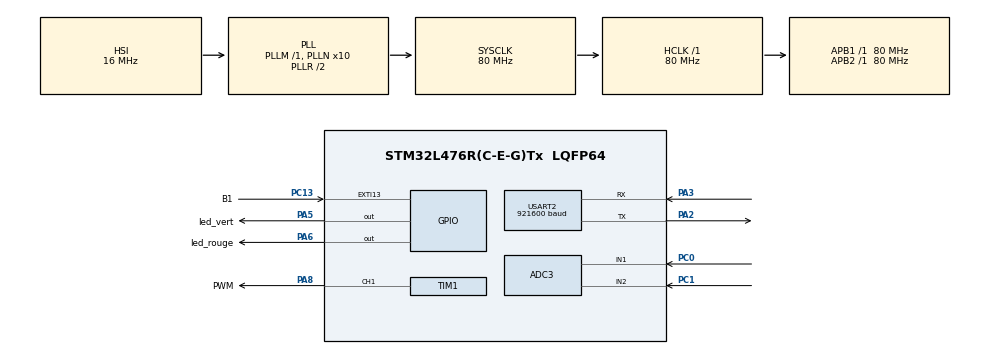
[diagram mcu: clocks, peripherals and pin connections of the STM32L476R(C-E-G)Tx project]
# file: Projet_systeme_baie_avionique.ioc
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ADC3.Channel-0\#ChannelRegularConversion=ADC_CHANNEL_1
ADC3.Channel-1\#ChannelRegularConversion=ADC_CHANNEL_2
ADC3.ContinuousConvMode=ENABLE
ADC3.EOCSelection=ADC_EOC_SEQ_CONV
ADC3.NbrOfConversion=2
ADC3.NbrOfConversionFlag=1
ADC3.OffsetNumber-0\#ChannelRegularConversion=ADC_OFFSET_NONE
ADC3.OffsetNumber-1\#ChannelRegularConversion=ADC_OFFSET_NONE
ADC3.Rank-0\#ChannelRegularConversion=1
ADC3.Rank-1\#ChannelRegularConversion=2
ADC3.SamplingTime-0\#ChannelRegularConversion=ADC_SAMPLETIME_6CYCLES_5
ADC3.SamplingTime-1\#ChannelRegularConversion=ADC_SAMPLETIME_6CYCLES_5
Dma.ADC3.0.Direction=DMA_PERIPH_TO_MEMORY
Dma.ADC3.0.Instance=DMA1_Channel3
Dma.ADC3.0.MemDataAlignment=DMA_MDATAALIGN_HALFWORD
Dma.ADC3.0.MemInc=DMA_MINC_ENABLE
Dma.ADC3.0.Mode=DMA_NORMAL
Dma.ADC3.0.PeriphDataAlignment=DMA_PDATAALIGN_HALFWORD
Dma.ADC3.0.PeriphInc=DMA_PINC_DISABLE
Dma.ADC3.0.Priority=DMA_PRIORITY_LOW
Dma.Request0=ADC3
FREERTOS.Events01=EventIHM,Dynamic,NULL
FREERTOS.Mutexes01=Mutexe_UART,Dynamic,NULL,Available
FREERTOS.Queues01=PipeQueue,10,info_commande_t,0,Dynamic,NULL,NULL
FREERTOS.Tasks01=TaskCommande,40,256,StartTaskCommande,Default,NULL,Dynamic,NULL,NULL;TaskTelemetrie,24,256,StartTaskTelemetrie,Default,NULL,Dynamic,NULL,NULL;TaskIHM,8,256,StartTaskIHM,Default,NULL,Dynamic,NULL,NULL
FREERTOS.configCHECK_FOR_STACK_OVERFLOW=2
FREERTOS.configTOTAL_HEAP_SIZE=6000
FREERTOS.configUSE_NEWLIB_REENTRANT=1
FREERTOS.configUSE_STATS_FORMATTING_FUNCTIONS=1
IWDG.Prescaler=IWDG_PRESCALER_32
IWDG.Reload=4000
Mcu.Family=STM32L4
Mcu.Name=STM32L476R(C-E-G)Tx
Mcu.Package=LQFP64
NVIC.ADC3_IRQn=true\:5\:0\:false\:false\:true\:true\:true\:true\:true
NVIC.DMA1_Channel3_IRQn=true\:5\:0\:false\:false\:true\:true\:false\:true\:true
NVIC.EXTI15_10_IRQn=true\:5\:0\:false\:false\:true\:true\:true\:true\:true
NVIC.PriorityGroup=NVIC_PRIORITYGROUP_4
NVIC.TIM1_CC_IRQn=true\:5\:0\:false\:false\:true\:true\:true\:true\:true
NVIC.TIM6_DAC_IRQn=true\:15\:0\:false\:false\:true\:false\:false\:true\:true
NVIC.TimeBase=TIM6_DAC_IRQn
NVIC.TimeBaseIP=TIM6
NVIC.USART2_IRQn=true\:5\:0\:false\:false\:true\:true\:true\:true\:true
PA13\ (JTMS-SWDIO).Mode=Serial_Wire
PA13\ (JTMS-SWDIO).Signal=SYS_JTMS-SWDIO
PA14\ (JTCK-SWCLK).Mode=Serial_Wire
PA14\ (JTCK-SWCLK).Signal=SYS_JTCK-SWCLK
PA2.Mode=Asynchronous
PA2.Signal=USART2_TX
PA3.Mode=Asynchronous
PA3.Signal=USART2_RX
PA5.GPIO_Label=led_vert
PA5.Signal=GPIO_Output
PA6.GPIO_Label=led_rouge
PA6.Signal=GPIO_Output
PA8.GPIO_Label=PWM
PA8.Signal=S_TIM1_CH1
PC0.Signal=ADCx_IN1
PC1.Signal=ADCx_IN2
PC13.GPIO_Label=B1
PC13.GPIO_PuPd=GPIO_PULLUP
PC13.Signal=GPXTI13
PH0-OSC_IN\ (PH0).Mode=HSE-External-Oscillator
PH0-OSC_IN\ (PH0).Signal=RCC_OSC_IN
PH1-OSC_OUT\ (PH1).Mode=HSE-External-Oscillator
PH1-OSC_OUT\ (PH1).Signal=RCC_OSC_OUT
ProjectManager.HeapSize=0x200
ProjectManager.StackSize=0x400
ProjectManager.TargetToolchain=STM32CubeIDE
RCC.ADCFreq_Value=64000000
RCC.AHBFreq_Value=80000000
RCC.APB1Freq_Value=80000000
RCC.APB1TimFreq_Value=80000000
RCC.APB2Freq_Value=80000000
RCC.APB2TimFreq_Value=80000000
RCC.CortexFreq_Value=80000000
RCC.HCLKFreq_Value=80000000
RCC.HSE_VALUE=8000000
RCC.HSI_VALUE=16000000
RCC.LSE_VALUE=32768
RCC.MSI_VALUE=4000000
RCC.PLLN=10
RCC.PLLSourceVirtual=RCC_PLLSOURCE_HSI
RCC.PREFETCH_ENABLE=1
RCC.SYSCLKFreq_VALUE=80000000
RCC.SYSCLKSource=RCC_SYSCLKSOURCE_PLLCLK
RCC.USBFreq_Value=64000000
RCC.VCOOutputFreq_Value=160000000
SH.ADCx_IN1.0=ADC3_IN1,IN1-Single-Ended
SH.ADCx_IN2.0=ADC3_IN2,IN2-Single-Ended
SH.S_TIM1_CH1.0=TIM1_CH1,PWM Generation1 CH1
TIM1.Channel-PWM\ Generation1\ CH1=TIM_CHANNEL_1
TIM1.Period=100-1
TIM1.Prescaler=8000-1
USART2.BaudRate=921600
USART2.VirtualMode-Asynchronous=VM_ASYNC
VP_FREERTOS_VS_CMSIS_V2.Mode=CMSIS_V2
VP_IWDG_VS_IWDG.Mode=IWDG_Activate
VP_SYS_VS_tim6.Mode=TIM6
VP_TIM1_VS_ClockSourceINT.Mode=Internal
board=NUCLEO-L476RG

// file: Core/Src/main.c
/* USER CODE BEGIN Header */
/**
  ******************************************************************************
  * @file           : main.c
  * @brief          : Main program body
  ******************************************************************************
  * @attention
  *
  * Copyright (c) 2026 STMicroelectronics.
  * All rights reserved.
  *
  * This software is licensed under terms that can be found in the LICENSE file
  * in the root directory of this software component.
  * If no LICENSE file comes with this software, it is provided AS-IS.
  *
  ******************************************************************************
  */
/* USER CODE END Header */
#include "main.h"
#include "cmsis_os.h"

/* USER CODE BEGIN Includes */
#include <stdio.h>
#include<string.h>
#include<math.h>
/* USER CODE END Includes */

/* USER CODE BEGIN PD */
#define CONSIGNE_CAPTEUR1 25
#define CONSIGNE_CAPTEUR2 30

#define COMMANDE_OK (1<<1)
#define TELEMETRIE_OK (2<<1)
/* USER CODE END PD */

ADC_HandleTypeDef hadc3;
DMA_HandleTypeDef hdma_adc3;

IWDG_HandleTypeDef hiwdg;

TIM_HandleTypeDef htim1;

UART_HandleTypeDef huart2;

/* Definitions for TaskCommande */
osThreadId_t TaskCommandeHandle;
const osThreadAttr_t TaskCommande_attributes = {
  .name = "TaskCommande",
  .stack_size = 256 * 4,
  .priority = (osPriority_t) osPriorityHigh,
};
/* Definitions for TaskTelemetrie */
osThreadId_t TaskTelemetrieHandle;
const osThreadAttr_t TaskTelemetrie_attributes = {
  .name = "TaskTelemetrie",
  .stack_size = 256 * 4,
  .priority = (osPriority_t) osPriorityNormal,
};
/* Definitions for TaskIHM */
osThreadId_t TaskIHMHandle;
const osThreadAttr_t TaskIHM_attributes = {
  .name = "TaskIHM",
  .stack_size = 256 * 4,
  .priority = (osPriority_t) osPriorityLow,
};
/* Definitions for PipeQueue */
osMessageQueueId_t PipeQueueHandle;
const osMessageQueueAttr_t PipeQueue_attributes = {
  .name = "PipeQueue"
};
/* Definitions for Mutexe_UART */
osMutexId_t Mutexe_UARTHandle;
const osMutexAttr_t Mutexe_UART_attributes = {
  .name = "Mutexe_UART"
};
/* Definitions for EventIHM */
osEventFlagsId_t EventIHMHandle;
const osEventFlagsAttr_t EventIHM_attributes = {
  .name = "EventIHM"
};
/* USER CODE BEGIN PV */

//-------> Informations sur la chaîne Acquistion-Commande PWM
typedef struct{
	uint16_t capteur1; // Jumeau Température
	uint16_t capteur2; // Jumeau humidité
	uint16_t duty_PWM;  // Rapport cyclique du PWM
	uint8_t  fsm_state; // 0: Normal, 1: Warning, 2: Critical
	uint32_t time_systeme;      // Temps système (ms)
}info_commande_t;

info_commande_t data_commande={
		.time_systeme=0,
		.capteur1=0,
		.capteur2=0,
		.duty_PWM=0,
		.fsm_state=0,
};

uint8_t flag_IWGD=0;

//--------> Variables buffer pour l'informations via la télémetrie
char buffer_UART[500];  // télémetrie via UART
volatile uint16_t buffer_capteur[2]; // Lecture des potentiomètres (pour simuler la température et humidité dans la baie avionique)

// Efface l'écran et remet le curseur en haut (sur Tera Term via UART)
char clear_screen[] = "\033[2J\033[H";
char message_erreur[]="--->\033[31m SYSTEME KO (Non respect écheance de tâche)\033[0m \r\n	\033[1m (Attente reset du Watchdog)\033[0m\r\n";

/* USER CODE END PV */

void SystemClock_Config(void);
static void MX_GPIO_Init(void);
static void MX_DMA_Init(void);
static void MX_TIM1_Init(void);
static void MX_USART2_UART_Init(void);
static void MX_ADC3_Init(void);
static void MX_IWDG_Init(void);
void StartTaskCommande(void *argument);
void StartTaskTelemetrie(void *argument);
void StartTaskIHM(void *argument);

/* USER CODE BEGIN 0 */

//------> Indispensable to use iprintf and others on serial debug terminal
int __io_putchar(int ch)
{
	// Send the character to ITM canal
	ITM_SendChar(ch);
	return ch;
}

/* USER CODE END 0 */

int main(void)
{

  /* MCU Configuration--------------------------------------------------------*/

  /* Reset of all peripherals, Initializes the Flash interface and the Systick. */
  HAL_Init();

  /* Configure the system clock */
  SystemClock_Config();

  /* Initialize all configured peripherals */
  MX_GPIO_Init();
  MX_DMA_Init();
  MX_TIM1_Init();
  MX_USART2_UART_Init();
  MX_ADC3_Init();
  MX_IWDG_Init();
  /* USER CODE BEGIN 2 */

//  	HAL_ADC_Start_DMA(&hadc3,(uint32_t *)buffer_capteur, 2);

  /* USER CODE END 2 */

  /* Init scheduler */
  osKernelInitialize();
  /* Create the mutex(es) */
  /* creation of Mutexe_UART */
  Mutexe_UARTHandle = osMutexNew(&Mutexe_UART_attributes);

  /* Create the queue(s) */
  /* creation of PipeQueue */
  PipeQueueHandle = osMessageQueueNew (10, sizeof(info_commande_t), &PipeQueue_attributes);

  /* Create the thread(s) */
  /* creation of TaskCommande */
  TaskCommandeHandle = osThreadNew(StartTaskCommande, NULL, &TaskCommande_attributes);

  /* creation of TaskTelemetrie */
  TaskTelemetrieHandle = osThreadNew(StartTaskTelemetrie, NULL, &TaskTelemetrie_attributes);

  /* creation of TaskIHM */
  TaskIHMHandle = osThreadNew(StartTaskIHM, NULL, &TaskIHM_attributes);

  /* creation of EventIHM */
  EventIHMHandle = osEventFlagsNew(&EventIHM_attributes);

  /* Start scheduler */
  osKernelStart();

  /* We should never get here as control is now taken by the scheduler */

  /* Infinite loop */
  while (1)
  {

  }
}

void SystemClock_Config(void)
{
  RCC_OscInitTypeDef RCC_OscInitStruct = {0};
  RCC_ClkInitTypeDef RCC_ClkInitStruct = {0};

  /** Configure the main internal regulator output voltage
  */
  if (HAL_PWREx_ControlVoltageScaling(PWR_REGULATOR_VOLTAGE_SCALE1) != HAL_OK)
  {
    Error_Handler();
  }

  /** Initializes the RCC Oscillators according to the specified parameters
  * in the RCC_OscInitTypeDef structure.
  */
  RCC_OscInitStruct.OscillatorType = RCC_OSCILLATORTYPE_HSI|RCC_OSCILLATORTYPE_LSI;
  RCC_OscInitStruct.HSIState = RCC_HSI_ON;
  RCC_OscInitStruct.HSICalibrationValue = RCC_HSICALIBRATION_DEFAULT;
  RCC_OscInitStruct.LSIState = RCC_LSI_ON;
  RCC_OscInitStruct.PLL.PLLState = RCC_PLL_ON;
  RCC_OscInitStruct.PLL.PLLSource = RCC_PLLSOURCE_HSI;
  RCC_OscInitStruct.PLL.PLLM = 1;
  RCC_OscInitStruct.PLL.PLLN = 10;
  RCC_OscInitStruct.PLL.PLLP = RCC_PLLP_DIV7;
  RCC_OscInitStruct.PLL.PLLQ = RCC_PLLQ_DIV2;
  RCC_OscInitStruct.PLL.PLLR = RCC_PLLR_DIV2;
  if (HAL_RCC_OscConfig(&RCC_OscInitStruct) != HAL_OK)
  {
    Error_Handler();
  }

  /** Initializes the CPU, AHB and APB buses clocks
  */
  RCC_ClkInitStruct.ClockType = RCC_CLOCKTYPE_HCLK|RCC_CLOCKTYPE_SYSCLK
                              |RCC_CLOCKTYPE_PCLK1|RCC_CLOCKTYPE_PCLK2;
  RCC_ClkInitStruct.SYSCLKSource = RCC_SYSCLKSOURCE_PLLCLK;
  RCC_ClkInitStruct.AHBCLKDivider = RCC_SYSCLK_DIV1;
  RCC_ClkInitStruct.APB1CLKDivider = RCC_HCLK_DIV1;
  RCC_ClkInitStruct.APB2CLKDivider = RCC_HCLK_DIV1;

  if (HAL_RCC_ClockConfig(&RCC_ClkInitStruct, FLASH_LATENCY_4) != HAL_OK)
  {
    Error_Handler();
  }
}

static void MX_ADC3_Init(void)
{

  ADC_ChannelConfTypeDef sConfig = {0};

  /** Common config
  */
  hadc3.Instance = ADC3;
  hadc3.Init.ClockPrescaler = ADC_CLOCK_ASYNC_DIV1;
  hadc3.Init.Resolution = ADC_RESOLUTION_12B;
  hadc3.Init.DataAlign = ADC_DATAALIGN_RIGHT;
  hadc3.Init.ScanConvMode = ADC_SCAN_ENABLE;
  hadc3.Init.EOCSelection = ADC_EOC_SEQ_CONV;
  hadc3.Init.LowPowerAutoWait = DISABLE;
  hadc3.Init.ContinuousConvMode = ENABLE;
  hadc3.Init.NbrOfConversion = 2;
  hadc3.Init.DiscontinuousConvMode = DISABLE;
  hadc3.Init.ExternalTrigConv = ADC_SOFTWARE_START;
  hadc3.Init.ExternalTrigConvEdge = ADC_EXTERNALTRIGCONVEDGE_NONE;
  hadc3.Init.DMAContinuousRequests = DISABLE;
  hadc3.Init.Overrun = ADC_OVR_DATA_PRESERVED;
  hadc3.Init.OversamplingMode = DISABLE;
  if (HAL_ADC_Init(&hadc3) != HAL_OK)
  {
    Error_Handler();
  }

  /** Configure Regular Channel
  */
  sConfig.Channel = ADC_CHANNEL_1;
  sConfig.Rank = ADC_REGULAR_RANK_1;
  sConfig.SamplingTime = ADC_SAMPLETIME_6CYCLES_5;
  sConfig.SingleDiff = ADC_SINGLE_ENDED;
  sConfig.OffsetNumber = ADC_OFFSET_NONE;
  sConfig.Offset = 0;
  if (HAL_ADC_ConfigChannel(&hadc3, &sConfig) != HAL_OK)
  {
    Error_Handler();
  }

  /** Configure Regular Channel
  */
  sConfig.Channel = ADC_CHANNEL_2;
  sConfig.Rank = ADC_REGULAR_RANK_2;
  if (HAL_ADC_ConfigChannel(&hadc3, &sConfig) != HAL_OK)
  {
    Error_Handler();
  }

}

static void MX_IWDG_Init(void)
{

  hiwdg.Instance = IWDG;
  hiwdg.Init.Prescaler = IWDG_PRESCALER_32;
  hiwdg.Init.Window = 4095;
  hiwdg.Init.Reload = 4000;
  if (HAL_IWDG_Init(&hiwdg) != HAL_OK)
  {
    Error_Handler();
  }

}

static void MX_TIM1_Init(void)
{

  TIM_ClockConfigTypeDef sClockSourceConfig = {0};
  TIM_MasterConfigTypeDef sMasterConfig = {0};
  TIM_OC_InitTypeDef sConfigOC = {0};
  TIM_BreakDeadTimeConfigTypeDef sBreakDeadTimeConfig = {0};

  htim1.Instance = TIM1;
  htim1.Init.Prescaler = 8000-1;
  htim1.Init.CounterMode = TIM_COUNTERMODE_UP;
  htim1.Init.Period = 100-1;
  htim1.Init.ClockDivision = TIM_CLOCKDIVISION_DIV1;
  htim1.Init.RepetitionCounter = 0;
  htim1.Init.AutoReloadPreload = TIM_AUTORELOAD_PRELOAD_DISABLE;
  if (HAL_TIM_Base_Init(&htim1) != HAL_OK)
  {
    Error_Handler();
  }
  sClockSourceConfig.ClockSource = TIM_CLOCKSOURCE_INTERNAL;
  if (HAL_TIM_ConfigClockSource(&htim1, &sClockSourceConfig) != HAL_OK)
  {
    Error_Handler();
  }
  if (HAL_TIM_PWM_Init(&htim1) != HAL_OK)
  {
    Error_Handler();
  }
  sMasterConfig.MasterOutputTrigger = TIM_TRGO_RESET;
  sMasterConfig.MasterOutputTrigger2 = TIM_TRGO2_RESET;
  sMasterConfig.MasterSlaveMode = TIM_MASTERSLAVEMODE_DISABLE;
  if (HAL_TIMEx_MasterConfigSynchronization(&htim1, &sMasterConfig) != HAL_OK)
  {
    Error_Handler();
  }
  sConfigOC.OCMode = TIM_OCMODE_PWM1;
  sConfigOC.Pulse = 0;
  sConfigOC.OCPolarity = TIM_OCPOLARITY_HIGH;
  sConfigOC.OCNPolarity = TIM_OCNPOLARITY_HIGH;
  sConfigOC.OCFastMode = TIM_OCFAST_DISABLE;
  sConfigOC.OCIdleState = TIM_OCIDLESTATE_RESET;
  sConfigOC.OCNIdleState = TIM_OCNIDLESTATE_RESET;
  if (HAL_TIM_PWM_ConfigChannel(&htim1, &sConfigOC, TIM_CHANNEL_1) != HAL_OK)
  {
    Error_Handler();
  }
  sBreakDeadTimeConfig.OffStateRunMode = TIM_OSSR_DISABLE;
  sBreakDeadTimeConfig.OffStateIDLEMode = TIM_OSSI_DISABLE;
  sBreakDeadTimeConfig.LockLevel = TIM_LOCKLEVEL_OFF;
  sBreakDeadTimeConfig.DeadTime = 0;
  sBreakDeadTimeConfig.BreakState = TIM_BREAK_DISABLE;
  sBreakDeadTimeConfig.BreakPolarity = TIM_BREAKPOLARITY_HIGH;
  sBreakDeadTimeConfig.BreakFilter = 0;
  sBreakDeadTimeConfig.Break2State = TIM_BREAK2_DISABLE;
  sBreakDeadTimeConfig.Break2Polarity = TIM_BREAK2POLARITY_HIGH;
  sBreakDeadTimeConfig.Break2Filter = 0;
  sBreakDeadTimeConfig.AutomaticOutput = TIM_AUTOMATICOUTPUT_DISABLE;
  if (HAL_TIMEx_ConfigBreakDeadTime(&htim1, &sBreakDeadTimeConfig) != HAL_OK)
  {
    Error_Handler();
  }
  HAL_TIM_MspPostInit(&htim1);

}

static void MX_USART2_UART_Init(void)
{

  huart2.Instance = USART2;
  huart2.Init.BaudRate = 921600;
  huart2.Init.WordLength = UART_WORDLENGTH_8B;
  huart2.Init.StopBits = UART_STOPBITS_1;
  huart2.Init.Parity = UART_PARITY_NONE;
  huart2.Init.Mode = UART_MODE_TX_RX;
  huart2.Init.HwFlowCtl = UART_HWCONTROL_NONE;
  huart2.Init.OverSampling = UART_OVERSAMPLING_16;
  huart2.Init.OneBitSampling = UART_ONE_BIT_SAMPLE_DISABLE;
  huart2.AdvancedInit.AdvFeatureInit = UART_ADVFEATURE_NO_INIT;
  if (HAL_UART_Init(&huart2) != HAL_OK)
  {
    Error_Handler();
  }

}

static void MX_DMA_Init(void)
{

  /* DMA controller clock enable */
  __HAL_RCC_DMA1_CLK_ENABLE();

  /* DMA interrupt init */
  /* DMA1_Channel3_IRQn interrupt configuration */
  HAL_NVIC_SetPriority(DMA1_Channel3_IRQn, 5, 0);
  HAL_NVIC_EnableIRQ(DMA1_Channel3_IRQn);

}

static void MX_GPIO_Init(void)
{
  GPIO_InitTypeDef GPIO_InitStruct = {0};

  /* GPIO Ports Clock Enable */
  __HAL_RCC_GPIOC_CLK_ENABLE();
  __HAL_RCC_GPIOH_CLK_ENABLE();
  __HAL_RCC_GPIOA_CLK_ENABLE();

  /*Configure GPIO pin Output Level */
  HAL_GPIO_WritePin(GPIOA, led_vert_Pin|led_rouge_Pin, GPIO_PIN_RESET);

  /*Configure GPIO pin : B1_Pin */
  GPIO_InitStruct.Pin = B1_Pin;
  GPIO_InitStruct.Mode = GPIO_MODE_IT_RISING;
  GPIO_InitStruct.Pull = GPIO_PULLUP;
  HAL_GPIO_Init(B1_GPIO_Port, &GPIO_InitStruct);

  /*Configure GPIO pins : led_vert_Pin led_rouge_Pin */
  GPIO_InitStruct.Pin = led_vert_Pin|led_rouge_Pin;
  GPIO_InitStruct.Mode = GPIO_MODE_OUTPUT_PP;
  GPIO_InitStruct.Pull = GPIO_NOPULL;
  GPIO_InitStruct.Speed = GPIO_SPEED_FREQ_LOW;
  HAL_GPIO_Init(GPIOA, &GPIO_InitStruct);

  /* EXTI interrupt init*/
  HAL_NVIC_SetPriority(EXTI15_10_IRQn, 5, 0);
  HAL_NVIC_EnableIRQ(EXTI15_10_IRQn);

}

void StartTaskCommande(void *argument)
{
  /* USER CODE BEGIN 5 */

	//----> Demarrage du PWM de la commande
	HAL_TIM_PWM_Start(&htim1, TIM_CHANNEL_1);

	TickType_t pause_commande=osKernelGetTickCount(); // Variable pour la pause absolue

  /* Infinite loop */
  for(;;)
  {
	pause_commande+=pdMS_TO_TICKS(10); // Echéance de la tâche (Freq= 100 Hz)

//--------------> Lecture des capteurs (Lecture ADC des potentiometres)
	HAL_ADC_Start_DMA(&hadc3,(uint32_t *)buffer_capteur, 2);
	taskENTER_CRITICAL();
	data_commande.capteur1=(100*buffer_capteur[0])/4095;
	data_commande.capteur2=(100*buffer_capteur[1])/4095;
	taskEXIT_CRITICAL();

//-------------> Loi de commande du signal de commande PWM par machine à état

	if(data_commande.capteur1 <= 45)
	{
		TIM1->CCR1=30; // Regime normale du moteur
	}
	else if(data_commande.capteur1 > 45 && data_commande.capteur1 <60)
	{
		TIM1->CCR1=70; // Zone de danger
	}
	else
	{
		TIM1->CCR1=90; // Plein régime
	}

	data_commande.duty_PWM=TIM1->CCR1;

	//-------------> Synchronisation par Fil de message (Queue)
	osMessageQueuePut(PipeQueueHandle, &data_commande, 0, pdMS_TO_TICKS(10));

	// ----------> Simulation non respect d'échéance de la tâche
	if(HAL_GPIO_ReadPin(B1_GPIO_Port, B1_Pin)==GPIO_PIN_RESET)
	{
		HAL_Delay(20);
	}

	// Check sur deadline de la tâche
	if(osKernelGetTickCount() <= pause_commande) //Diagnostique sur l'échéance de la tâche
	{
		osEventFlagsSet(EventIHMHandle, COMMANDE_OK);
	}

    osDelayUntil(pause_commande);
  }
  /* USER CODE END 5 */
}

void StartTaskTelemetrie(void *argument)
{
  /* USER CODE BEGIN StartTaskTelemetrie */
	TickType_t pause_telemetrie=osKernelGetTickCount();
	info_commande_t rec_commande;

	HAL_UART_Transmit(&huart2, (uint8_t*)clear_screen, strlen(clear_screen), pdMS_TO_TICKS(1)); // Efface l'ecran

  /* Infinite loop */
  for(;;)
  {

	pause_telemetrie+=pdMS_TO_TICKS(100); // Echéance Tâche Télémetrie

	//----------> Synchronisation via Queue de message
	if(osMessageQueueGet(PipeQueueHandle, &rec_commande, 0, pdMS_TO_TICKS(10))==osOK)
	{
		if(flag_IWGD==0)
		{
	//----------> Envoie Télémetrie
		rec_commande.time_systeme=osKernelGetTickCount(); // Horodatage
		HAL_UART_Transmit(&huart2, (uint8_t*)clear_screen, strlen(clear_screen), pdMS_TO_TICKS(1)); // Efface l'ecran
		sprintf(buffer_UART,"\033[1m === STATION SOL - BAIE AVIONIQUE ===\033[0m \r\n"
				"------------------------------------------\r\n"
				"\033[1m ------> [CAPTEURS & COMMANDE]	\033[0m\r\n"
				"\033[33m Température \033[0m : %u °C\r\n"
				"\033[33m Humidité \033[0m: %u %%\r\n"
				"\033[33m Rapport cyclique PWM \033[0m: %u \r\n"
				"------------------------------------------\r\n"
				"\033[1m ------> [SECURITE & TEMPS REEL]	\033[0m\r\n"
				"\033[33m Horloge_systeme \033[0m: %lu ms\r\n"
				"\033[33m Etat du système \033[0m: \033[32m OK \033[0m\r\n"
				"\033[1m======================================\033[0m \r\n\n",
				rec_commande.capteur1,
				rec_commande.capteur2,
				rec_commande.duty_PWM,
				rec_commande.time_systeme);

		HAL_UART_Transmit(&huart2, (uint8_t *)buffer_UART, sizeof(buffer_UART), HAL_MAX_DELAY);

		}

	}

	else
	{
		iprintf("----> Echec envoie vers Télémetrie\n");

	}

//----> Check sur deadline de la tâche Télémetrie
	if(osKernelGetTickCount() <= pause_telemetrie)
	{
		osEventFlagsSet(EventIHMHandle, TELEMETRIE_OK);
	}

    osDelayUntil(pause_telemetrie);
  }

  /* USER CODE END StartTaskTelemetrie */
}

void StartTaskIHM(void *argument)
{
  /* USER CODE BEGIN StartTaskIHM */
	TickType_t pause_IHM=osKernelGetTickCount();

  /* Infinite loop */
  for(;;)
  {
	  pause_IHM+=pdMS_TO_TICKS(100); // ---> Cycle de verification d'intégrité du système

	  uint32_t check= osEventFlagsWait(EventIHMHandle, COMMANDE_OK | TELEMETRIE_OK, osFlagsWaitAll, pdMS_TO_TICKS(100)); // Vérification respect Echéance

	  if(!((check & osFlagsError)))
	  {
		  HAL_GPIO_WritePin(led_vert_GPIO_Port, led_vert_Pin, GPIO_PIN_SET);
		  HAL_GPIO_WritePin(led_rouge_GPIO_Port, led_rouge_Pin, GPIO_PIN_RESET);

		  // Affiche le tableau de bord statique
		  iprintf("\n\n\n\n\n\n\n\n\n\n\n\n\n\n\n\n\n");
		  iprintf("===============================\r\n");
		  iprintf("      (IHM) TABLEAU DE BORD     \r\n");
		  iprintf("===============================\r\n");
		  iprintf(" Temperature (Capteur 1) : %3u        \r\n",data_commande.capteur1);
		  iprintf(" Humidite (Capteur 2) : %3u  \r\n",data_commande.capteur2);
		  iprintf(" Rapport cyclique_PWM: %3u  \r\n",data_commande.duty_PWM);
		  iprintf(" Tick_systeme: %lu	\r\n",osKernelGetTickCount());
		  iprintf(" Etat du systeme: OK\r\n");
		  iprintf("===============================\r\n");

		  HAL_IWDG_Refresh(&hiwdg); // Nourrir le watchdog
		  flag_IWGD=0;
	  }

	  else
	  {
		  iprintf("=====-----> SYSTEME_KO\n");
		  HAL_GPIO_WritePin(led_vert_GPIO_Port, led_vert_Pin, GPIO_PIN_RESET);
		  HAL_GPIO_WritePin(led_rouge_GPIO_Port, led_rouge_Pin, GPIO_PIN_SET);

		  HAL_UART_Transmit(&huart2, (uint8_t*)clear_screen, strlen(clear_screen), HAL_MAX_DELAY);  // Efface l'ecran
		  HAL_UART_Transmit(&huart2, (uint8_t*)message_erreur, sizeof(message_erreur), HAL_MAX_DELAY);

		  flag_IWGD=1;

	  }

    osDelayUntil(pause_IHM);
  }
  /* USER CODE END StartTaskIHM */
}

void HAL_TIM_PeriodElapsedCallback(TIM_HandleTypeDef *htim)
{
  if (htim->Instance == TIM6)
  {
    HAL_IncTick();
  }
}

void Error_Handler(void)
{
  __disable_irq();
  while (1)
  {
  }
}

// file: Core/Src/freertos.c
/* USER CODE BEGIN Header */
/**
  ******************************************************************************
  * File Name          : freertos.c
  * Description        : Code for freertos applications
  ******************************************************************************
  * @attention
  *
  * Copyright (c) 2026 STMicroelectronics.
  * All rights reserved.
  *
  * This software is licensed under terms that can be found in the LICENSE file
  * in the root directory of this software component.
  * If no LICENSE file comes with this software, it is provided AS-IS.
  *
  ******************************************************************************
  */
/* USER CODE END Header */

#include "FreeRTOS.h"
#include "task.h"
#include "main.h"

/* Hook prototypes */
void vApplicationStackOverflowHook(xTaskHandle xTask, signed char *pcTaskName);

/* USER CODE BEGIN 4 */
void vApplicationStackOverflowHook(xTaskHandle xTask, signed char *pcTaskName)
{
   /* Run time stack overflow checking is performed if
   configCHECK_FOR_STACK_OVERFLOW is defined to 1 or 2. This hook function is
   called if a stack overflow is detected. */
	iprintf("----->Task overflow detected from Task: %s\n",pcTaskName);
	HAL_GPIO_TogglePin(led_rouge_GPIO_Port, led_rouge_Pin);
	osDelay(500);
}
/* USER CODE END 4 */
